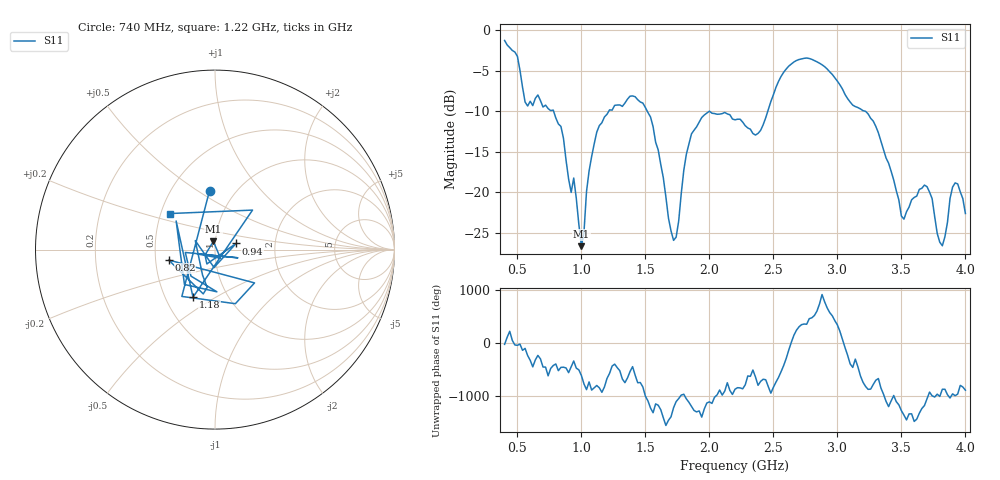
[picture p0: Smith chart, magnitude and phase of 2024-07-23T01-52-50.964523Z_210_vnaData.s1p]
!Created with skrf (http://scikit-rf.org).
# Hz S RI R 50.0
!freq ReS11 ImS11
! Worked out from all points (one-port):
!   181 points, 400 MHz to 4 GHz, reference 50 ohm
!   lowest |S11| = -26.6 dB at 1 GHz (marker M1), VSWR 1.10, Z = 48.9 + j4.47 ohm
!   |S11| at or under -10 dB: 1.515 GHz to 1.998 GHz (482.5 MHz wide, 27.5 % of centre); 2.002 GHz to 2.456 GHz (454.2 MHz wide, 20.4 % of centre); 3.221 GHz to end of sweep (the widest 3 of 4)
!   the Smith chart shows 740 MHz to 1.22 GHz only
!   S11 on the Smith chart (normalised r, x): 740 MHz: 0.76, +0.56; 820 MHz: 0.59, -0.07; 940 MHz: 1.26, +0.09; 1.18 GHz: 0.69, -0.40; 1.22 GHz: 0.56, +0.25
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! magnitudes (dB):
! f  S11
! 400 MHz  -1.2
! 500 MHz  -3.2
! 560 MHz  -8.8
! 740 MHz  -9.7
! 820 MHz  -11.6
! 860 MHz  -13.3
! 920 MHz  -20.0
! 940 MHz  -18.2
! 1 GHz  -26.6
! 1.06 GHz  -17.3
! 1.18 GHz  -10.7
! 1.22 GHz  -9.8
! 1.3 GHz  -9.2
! 1.54 GHz  -10.7
! 1.72 GHz  -25.9
! 1.76 GHz  -23.6
! 1.86 GHz  -12.8
! 2.2 GHz  -11.0
! 2.38 GHz  -12.7
! 2.66 GHz  -3.9
! 3.1 GHz  -8.8
! 3.3 GHz  -11.8
! 3.5 GHz  -22.9
! 3.56 GHz  -21.8
! 3.7 GHz  -19.3
! 3.82 GHz  -26.6
! 3.92 GHz  -18.8
! 4 GHz  -22.6
